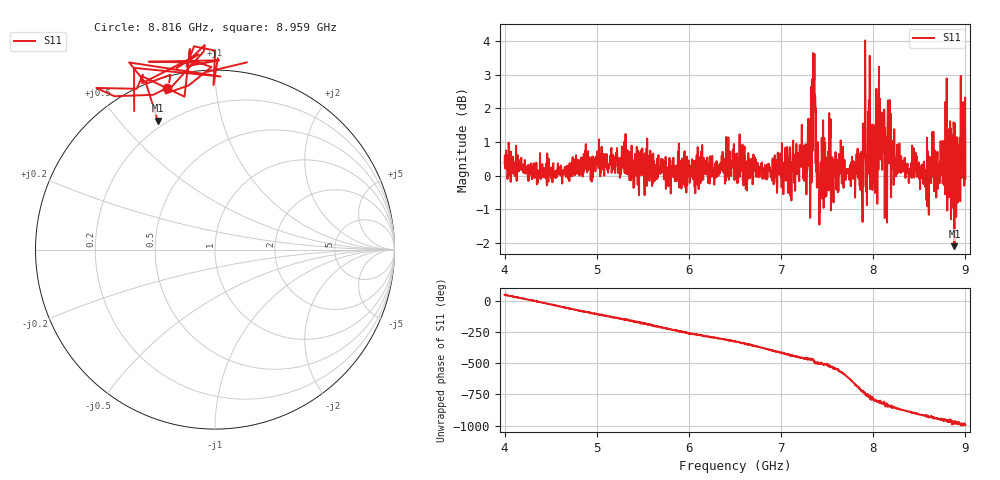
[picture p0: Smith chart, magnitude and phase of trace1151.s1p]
! Created with skrf 1.8.0 (http://scikit-rf.org).
# Hz S RI R 50.0
!freq ReS11 ImS11
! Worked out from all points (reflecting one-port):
!   1601 points, 4 GHz to 9 GHz, reference 50 ohm
!   lowest |S11| = -2.1 dB at 8.881 GHz (marker M1), VSWR 8.35, Z = 8.47 + j31.8 ohm
!   phase of S11 starts at 51 deg and turns -1046 deg over the sweep
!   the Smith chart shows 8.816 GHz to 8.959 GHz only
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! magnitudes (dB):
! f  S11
! 4 GHz  0.4
! 4.625 GHz  -0.2
! 5.25 GHz  -0.1
! 5.875 GHz  -0.1
! 6.5 GHz  0.5
! 7.125 GHz  0.6
! 7.297 GHz  1.7
! 7.319 GHz  -0.3
! 7.347 GHz  3.6
! 7.372 GHz  2.2
! 7.4 GHz  1.0
! 7.412 GHz  0.0
! 7.525 GHz  1.3
! 7.566 GHz  -0.3
! 7.75 GHz  0.0
! 7.859 GHz  0.7
! 7.938 GHz  0.4
! 7.997 GHz  1.3
! 8.097 GHz  0.2
! 8.128 GHz  1.4
! 8.178 GHz  2.2
! 8.216 GHz  0.8
! 8.375 GHz  0.1
! 8.581 GHz  0.0
! 8.788 GHz  -0.1
! 8.881 GHz  -2.1
! 8.972 GHz  0.4
! 9 GHz  -0.1
